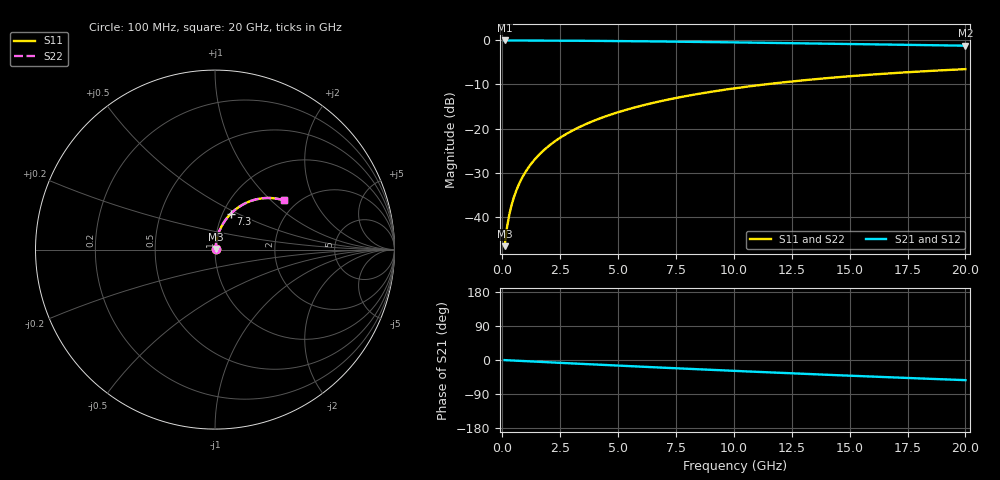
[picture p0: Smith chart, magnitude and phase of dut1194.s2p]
! Touchstone file exported from HFSS 2026.1.0
!  File:  C:/ffzhzh/LocalFiles/Ansys_Project_Files/temp_train_BSMRDL_1194_1783176369_51560.aedt
!  Generated:  10:47:37 PM Jul  4, 2026
!  Design:  BSMRDL
!  Project:  temp_train_BSMRDL_1194_1783176369_51560
! Variables:
!  h_bsmrdl = 4.42um
!  h_ox = 20um
!  h_rdl = 5um
!  h_sub = 80um
!  h_tmrdl = 5um
!  h_tsv = 80um
!  h_via = 3um
!  l_bsmrdl = 803.53um
!  l_sub = 1203.53um
!  l_tmrdl = 200um
!  m_sub = 200um
!  pitch = 52.41um
!  r_tsv = 6um
!  s_tmrdl = 10um
!  w_bsmrdl = 21.53um
!  w_sub = 500um
!  w_tmrdl = 12um
!  x_tsv_center1 = 206um
!  x_tsv_center2 = 1031.06um
!  x_tsv_center3 = 1243.06um
!  x_tsv_center4 = 2068.12um
!  x_tsv_center5 = 2280.12um
!  x_tsv_center6 = 3105.18um
# GHz S MA R 50.000000
! Terminal data exported
! Port[1] = BSM_RDL1_1_T1
! Port[2] = BSM_RDL1_1_T2
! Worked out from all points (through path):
!   200 points, 100 MHz to 20 GHz, reference 50 ohm
!   highest |S21| = -0.03 dB at 100 MHz (marker M1); lowest = -1.2 dB at 20 GHz (marker M2)
!   group delay of S21, straight-line fit = 7.39 ps
!   lowest |S11| = -46.6 dB at 100 MHz (marker M3), VSWR 1.01, Z = 50.3 + j0.343 ohm
!   |S11| at or under -10 dB: start of sweep to 11.33 GHz
!   |S22| runs from -46.6 to -6.5 dB; largest |S21 - S12| = 1.3e-14
!   S11 on the Smith chart (normalised r, x): 100 MHz: 1.01, +0.01; 7.3 GHz: 1.09, +0.46; 20 GHz: 1.71, +1.21
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0.1  0.004654 47.1  0.9968 -0.3  0.9968 -0.3  0.004654 47.1
! Gamma 0 0 0 0
! Port Impedance 50 0 50 0
0.2  0.007507 63.0  0.9966 -0.6  0.9966 -0.6  0.007507 63.0
0.3  0.01053 69.7  0.9965 -0.9  0.9965 -0.9  0.01053 69.7
0.4  0.01357 73.3  0.9963 -1.2  0.9963 -1.2  0.01357 73.3
0.5  0.01664 75.6  0.9962 -1.5  0.9962 -1.5  0.01664 75.6
0.7  0.02282 78.2  0.9959 -2.1  0.9959 -2.1  0.02282 78.2
1  0.03217 79.9  0.9955 -3.0  0.9955 -3.0  0.03217 79.9
1.2  0.03842 80.3  0.9952 -3.6  0.9952 -3.6  0.03842 80.3
1.4  0.04467 80.4  0.9948 -4.2  0.9948 -4.2  0.04467 80.4
1.7  0.05403 80.2  0.9942 -5.1  0.9942 -5.1  0.05403 80.2
2  0.06335 79.9  0.9934 -6.0  0.9934 -6.0  0.06335 79.9
2.7  0.08492 78.5  0.9913 -8.1  0.9913 -8.1  0.08492 78.5
3.5  0.1092 76.5  0.9883 -10.4  0.9883 -10.4  0.1092 76.5
4.2  0.13 74.7  0.9852 -12.5  0.9852 -12.5  0.13 74.7
5  0.1532 72.6  0.9811 -14.8  0.9811 -14.8  0.1532 72.6
6.8  0.2035 67.7  0.9707 -19.9  0.9707 -19.9  0.2035 67.8
7.3  0.2169 66.4  0.9675 -21.3  0.9675 -21.3  0.2169 66.4
8.6  0.2507 63.0  0.9586 -24.9  0.9586 -24.9  0.2507 63.0
10.1  0.2877 59.1  0.9476 -28.9  0.9476 -28.9  0.2877 59.1
13.4  0.3607 50.8  0.9216 -37.4  0.9216 -37.4  0.3607 50.8
16.7  0.422 42.9  0.8949 -45.5  0.8949 -45.5  0.4221 42.9
20  0.472 35.5  0.8697 -53.2  0.8697 -53.2  0.4721 35.5
